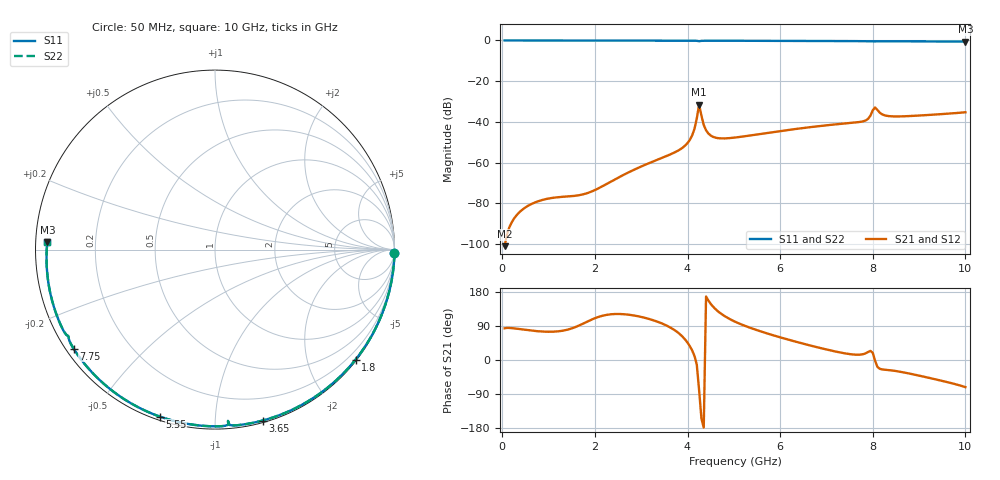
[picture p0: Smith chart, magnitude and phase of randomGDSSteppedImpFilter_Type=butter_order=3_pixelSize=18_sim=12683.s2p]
! freq	dB(S11)	phase(S11)	dB(S12)	phase(S12)
!  dB(S21)	phase(S21)	dB(S22)	phase(S22)
!S-par simulation data
#  GHz  S  DB  R 50
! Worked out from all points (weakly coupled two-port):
!   200 points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, 50 MHz to 10 GHz, reference 50 ohm
!   highest |S21| = -31.51 dB at 4.25 GHz (marker M1); lowest = -101.1 dB at 50 MHz (marker M2)
!   lowest |S11| = -0.6 dB at 10 GHz (marker M3), VSWR 29.83, Z = 1.68 + j1.15 ohm
!   |S11| at or under -10 dB: nowhere
!   |S22| runs from -0.6 to 0.0 dB; largest |S21 - S12| = 0
!   S11 on the Smith chart (normalised r, x): 50 MHz: open; 1.8 GHz: 0.03, -2.90; 3.65 GHz: 0.02, -1.32; 5.55 GHz: 0.02, -0.72; 7.75 GHz: 0.02, -0.31; 10 GHz: 0.03, +0.02
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0.05  -0.00 -1.1  -101.08 83.6  -101.08 83.6  -0.00 -1.1
0.65  -0.02 -14.0  -80.14 77.3  -80.14 77.3  -0.02 -14.0
1.75  -0.05 -37.0  -75.59 96.3  -75.59 96.3  -0.05 -37.0
1.8  -0.05 -38.0  -75.28 99.2  -75.28 99.2  -0.05 -38.0
3.4  -0.09 -69.7  -58.14 98.8  -58.14 98.8  -0.09 -69.7
3.65  -0.10 -74.5  -55.77 84.2  -55.77 84.2  -0.10 -74.5
3.9  -0.11 -79.2  -52.58 60.5  -52.58 60.5  -0.11 -79.2
4.05  -0.12 -82.0  -48.81 36.5  -48.81 36.5  -0.12 -82.0
4.15  -0.13 -84.1  -43.43 10.8  -43.43 10.8  -0.13 -84.1
4.25  -0.38 -85.7  -31.51 -80.0  -31.51 -80.0  -0.38 -85.7
4.35  -0.15 -86.8  -41.54 -178.4  -41.54 -178.4  -0.15 -86.8
4.45  -0.13 -88.9  -45.71 157.0  -45.71 157.0  -0.13 -88.9
4.65  -0.14 -92.6  -47.97 129.2  -47.97 129.2  -0.14 -92.6
5.05  -0.15 -99.7  -47.64 99.8  -47.64 99.8  -0.15 -99.7
5.55  -0.18 -108.3  -46.01 76.7  -46.01 76.7  -0.18 -108.3
6.7  -0.25 -127.7  -42.46 36.7  -42.46 36.7  -0.25 -127.7
7.75  -0.34 -145.0  -39.92 14.4  -39.92 14.4  -0.34 -145.0
7.9  -0.37 -147.6  -38.49 21.2  -38.49 21.2  -0.37 -147.6
8.05  -0.45 -149.5  -32.93 -2.2  -32.93 -2.2  -0.45 -149.5
8.2  -0.38 -152.0  -36.26 -24.8  -36.26 -24.8  -0.38 -152.0
8.35  -0.39 -154.6  -37.18 -26.6  -37.18 -26.6  -0.39 -154.6
10  -0.58 177.4  -35.28 -71.6  -35.28 -71.6  -0.58 177.4
